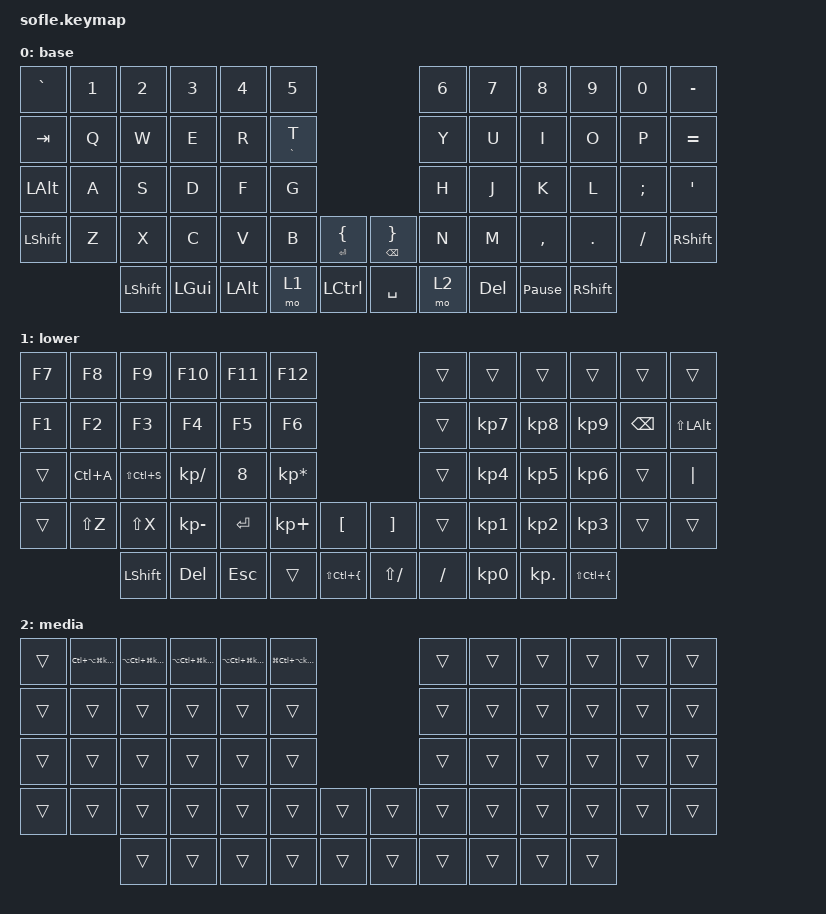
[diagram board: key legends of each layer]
/*
 * Copyright (c) 2020 The ZMK Contributors
 *
 * SPDX-License-Identifier: MIT
 */

#include <behaviors.dtsi>
#include <dt-bindings/zmk/keys.h>

#define BASE 0
#define LOWER 1
#define RAISE 2
#define ADJUST 3

/ {
    // Activate ADJUST layer by pressing raise and lower

    conditional_layers {
        compatible = "zmk,conditional-layers";

        adjust_layer {
            if-layers = <1 2>;
            then-layer = <3>;
        };
    };

    macros {
        ZonePrintScreen: ZonePrintScreen {
            compatible = "zmk,behavior-macro";
            #binding-cells = <0>;
            bindings = <&kp LS(LG(S))>;
            label = "ZONEPRINTSCREEN";
        };
    };

    combos {
        compatible = "zmk,combos";

        enter {
            bindings = <&kp ENTER>;
            key-positions = <45 46>;
            layers = <0 1>;
        };

        backspase {
            bindings = <&kp BACKSPACE>;
            key-positions = <20 19>;
            layers = <0 1>;
        };

        l_ {
            bindings = <&kp LEFT_PARENTHESIS>;
            key-positions = <16 17>;
            layers = <0 1>;
        };

        r_ {
            bindings = <&kp RIGHT_PARENTHESIS>;
            key-positions = <18 19>;
            layers = <0 1>;
        };

        ent {
            bindings = <&kp ENTER>;
            key-positions = <40 39>;
            layers = <0 1>;
        };

        spase {
            bindings = <&kp SPACE>;
            key-positions = <28 27>;
        };

        bs2 {
            bindings = <&kp BACKSPACE>;
            key-positions = <16 15>;
            layers = <0 1>;
        };

        til2 {
            bindings = <&kp SPACE>;
            key-positions = <31 32>;
        };
    };

    keymap {
        compatible = "zmk,keymap";

        base_layer {
            display-name = "base";
            bindings = <
&kp GRAVE       &kp N1  &kp N2          &kp N3        &kp N4        &kp N5                                                          &kp N6  &kp N7   &kp N8           &kp N9           &kp N0    &kp MINUS
&kp TAB         &kp Q   &kp W           &kp E         &kp R         &mt GRAVE T                                                     &kp Y   &kp U    &kp I            &kp O            &kp P     &kp EQUAL
&kp LEFT_ALT    &kp A   &kp S           &kp D         &kp F         &kp G                                                           &kp H   &kp J    &kp K            &kp L            &kp SEMI  &kp SQT
&kp LEFT_SHIFT  &kp Z   &kp X           &kp C         &kp V         &kp B        &mt ENTER LEFT_BRACE    &mt BACKSPACE RIGHT_BRACE  &kp N   &kp M    &kp COMMA        &kp DOT          &kp FSLH  &kp RSHFT
                        &kp LEFT_SHIFT  &kp LEFT_GUI  &kp LEFT_ALT  &mo 1        &kp LCTRL               &kp SPACE                  &mo 2   &kp DEL  &kp PAUSE_BREAK  &kp RIGHT_SHIFT
            >;
        };

        lower_layer {
            display-name = "lower";
            bindings = <
&kp F7  &kp F8     &kp F9          &kp F10       &kp F11     &kp F12                                                       &trans     &trans           &trans           &trans                  &trans         &trans
&kp F1  &kp F2     &kp F3          &kp F4        &kp F5      &kp F6                                                        &trans     &kp KP_NUMBER_7  &kp KP_NUMBER_8  &kp KP_NUMBER_9         &kp BACKSPACE  &kp LS(LEFT_ALT)
&trans  &kp LC(A)  &kp LS(LC(S))   &kp KP_SLASH  &kp N8      &kp KP_MULTIPLY                                               &trans     &kp KP_NUMBER_4  &kp KP_NUMBER_5  &kp KP_NUMBER_6         &trans         &kp PIPE
&trans  &kp LS(Z)  &kp LS(X)       &kp KP_MINUS  &kp ENTER   &kp KP_PLUS      &kp LEFT_BRACKET          &kp RIGHT_BRACKET  &trans     &kp KP_NUMBER_1  &kp KP_NUMBER_2  &kp KP_NUMBER_3         &trans         &trans
                   &kp LEFT_SHIFT  &kp DEL       &kp ESCAPE  &trans           &kp LS(LC(LEFT_BRACE))    &kp LS(FSLH)       &kp SLASH  &kp KP_NUMBER_0  &kp KP_DOT       &kp LS(LC(LEFT_BRACE))
            >;
        };

        media {
            bindings = <
&trans  &kp LC(LA(LG(KP_NUMBER_1)))  &kp LA(LC(LG(KP_NUMBER_2)))  &kp LA(LC(LG(KP_NUMBER_3)))  &kp LA(LC(LG(KP_NUMBER_4)))  &kp LG(LC(LA(KP_NUMBER_5)))                    &trans  &trans  &trans  &trans  &trans  &trans
&trans  &trans                       &trans                       &trans                       &trans                       &trans                                         &trans  &trans  &trans  &trans  &trans  &trans
&trans  &trans                       &trans                       &trans                       &trans                       &trans                                         &trans  &trans  &trans  &trans  &trans  &trans
&trans  &trans                       &trans                       &trans                       &trans                       &trans                       &trans    &trans  &trans  &trans  &trans  &trans  &trans  &trans
                                     &trans                       &trans                       &trans                       &trans                       &trans    &trans  &trans  &trans  &trans  &trans
            >;
        };
    };
};
